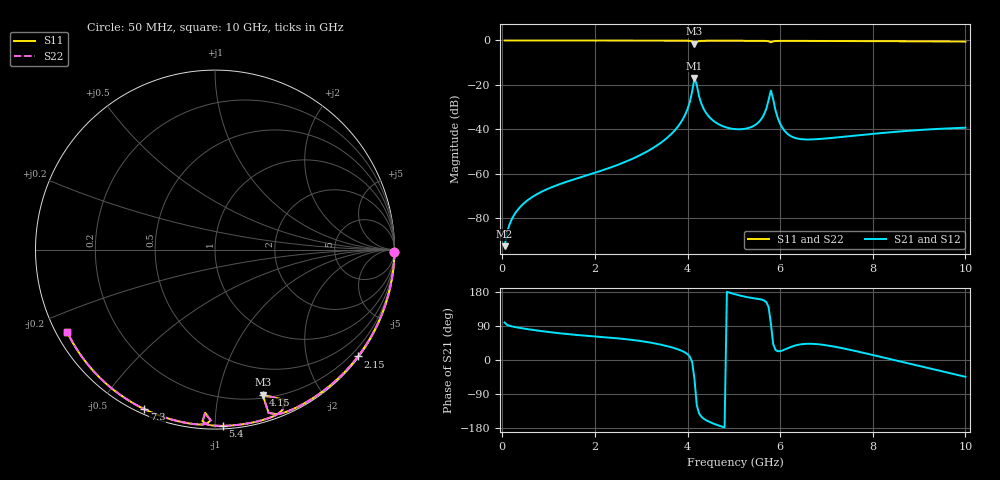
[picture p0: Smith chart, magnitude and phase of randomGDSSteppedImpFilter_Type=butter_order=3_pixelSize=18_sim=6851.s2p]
! freq	dB(S11)	phase(S11)	dB(S12)	phase(S12)
!  dB(S21)	phase(S21)	dB(S22)	phase(S22)
!S-par simulation data
#  GHz  S  DB  R 50
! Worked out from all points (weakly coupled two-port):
!   200 points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, 50 MHz to 10 GHz, reference 50 ohm
!   highest |S21| = -16.82 dB at 4.15 GHz (marker M1); lowest = -92.5 dB at 50 MHz (marker M2)
!   lowest |S11| = -1.4 dB at 4.15 GHz (marker M3), VSWR 12.48, Z = 11.5 - j67.8 ohm
!   |S11| at or under -10 dB: nowhere
!   |S22| runs from -1.4 to 0.0 dB; largest |S21 - S12| = 0
!   S11 on the Smith chart (normalised r, x): 50 MHz: open; 2.15 GHz: 0.03, -3.01; 4.15 GHz: 0.23, -1.36; 5.4 GHz: 0.02, -1.05; 7.3 GHz: 0.02, -0.65; 10 GHz: 0.03, -0.26
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0.05  -0.00 -0.9  -92.46 98.7  -92.46 98.7  -0.00 -0.9
0.2  -0.00 -3.5  -80.55 88.9  -80.55 88.9  -0.00 -3.5
0.8  -0.01 -13.9  -68.51 77.0  -68.51 77.0  -0.02 -13.9
1.75  -0.04 -30.1  -61.10 64.6  -61.10 64.6  -0.04 -30.1
2.15  -0.05 -36.8  -58.44 60.6  -58.44 60.6  -0.05 -36.8
3.4  -0.08 -57.3  -46.35 41.1  -46.35 41.1  -0.08 -57.3
3.9  -0.11 -65.9  -35.35 22.8  -35.35 22.8  -0.11 -65.9
4.05  -0.19 -69.6  -27.62 8.6  -27.62 8.6  -0.19 -69.6
4.15  -1.39 -71.8  -16.82 -50.7  -16.82 -50.7  -1.40 -71.8
4.2  -0.66 -64.9  -20.05 -119.7  -20.05 -119.7  -0.66 -64.9
4.3  -0.18 -69.0  -28.48 -149.8  -28.48 -149.8  -0.18 -69.0
4.45  -0.13 -72.3  -33.93 -162.0  -33.93 -162.0  -0.13 -72.3
5.05  -0.13 -82.0  -39.88 172.7  -39.88 172.7  -0.13 -82.0
5.4  -0.15 -87.4  -38.69 163.5  -38.69 163.5  -0.15 -87.4
5.65  -0.19 -91.7  -33.35 157.3  -33.35 157.3  -0.19 -91.7
5.8  -0.81 -93.5  -22.51 95.8  -22.51 95.8  -0.80 -93.4
5.95  -0.20 -94.0  -34.93 23.0  -34.93 23.0  -0.20 -94.0
6.1  -0.18 -96.7  -40.73 27.6  -40.73 27.6  -0.18 -96.7
6.7  -0.21 -105.5  -44.46 42.6  -44.46 42.6  -0.21 -105.5
7.3  -0.25 -113.9  -43.43 32.2  -43.43 32.2  -0.25 -113.9
8.35  -0.33 -128.3  -41.31 3.1  -41.31 3.1  -0.33 -128.3
10  -0.51 -151.0  -39.23 -44.4  -39.23 -44.4  -0.51 -151.0
